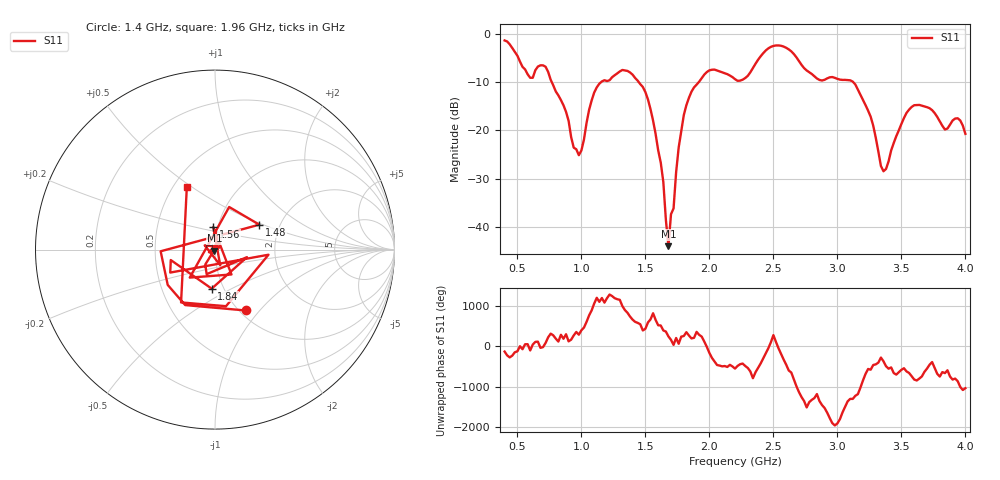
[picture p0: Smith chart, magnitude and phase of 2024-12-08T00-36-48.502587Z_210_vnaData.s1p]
!Created with skrf (http://scikit-rf.org).
# Hz S RI R 50.0
!freq ReS11 ImS11
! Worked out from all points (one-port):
!   181 points, 400 MHz to 4 GHz, reference 50 ohm
!   lowest |S11| = -44.1 dB at 1.68 GHz (marker M1), VSWR 1.01, Z = 49.7 - j0.547 ohm
!   |S11| at or under -10 dB: 769.3 MHz to 1.152 GHz (382.6 MHz wide, 39.8 % of centre); 1.45 GHz to 1.916 GHz (466 MHz wide, 27.7 % of centre); 3.125 GHz to end of sweep
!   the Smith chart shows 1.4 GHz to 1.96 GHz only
!   S11 on the Smith chart (normalised r, x): 1.4 GHz: 1.07, -0.85; 1.48 GHz: 1.57, +0.47; 1.56 GHz: 0.95, +0.24; 1.84 GHz: 0.88, -0.40; 1.96 GHz: 0.59, +0.48
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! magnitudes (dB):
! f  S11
! 400 MHz  -1.3
! 600 MHz  -9.0
! 720 MHz  -6.7
! 860 MHz  -14.8
! 980 MHz  -25.1
! 1.1 GHz  -12.1
! 1.3 GHz  -7.7
! 1.4 GHz  -8.4
! 1.48 GHz  -11.0
! 1.56 GHz  -18.0
! 1.64 GHz  -30.7
! 1.68 GHz  -44.1
! 1.72 GHz  -36.2
! 1.76 GHz  -23.5
! 1.84 GHz  -13.2
! 1.96 GHz  -8.4
! 2.2 GHz  -9.3
! 2.48 GHz  -2.6
! 2.66 GHz  -4.1
! 2.86 GHz  -9.5
! 3.1 GHz  -9.6
! 3.26 GHz  -17.1
! 3.36 GHz  -28.5
! 3.56 GHz  -15.7
! 3.72 GHz  -15.4
! 3.84 GHz  -19.8
! 3.94 GHz  -17.5
! 4 GHz  -20.7
